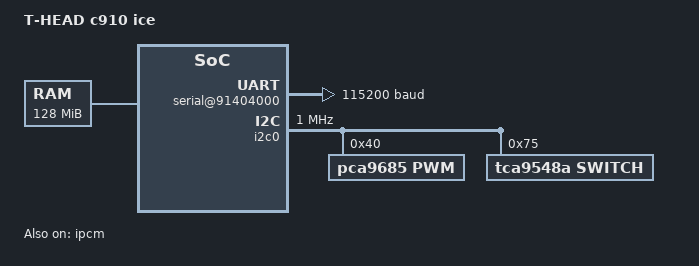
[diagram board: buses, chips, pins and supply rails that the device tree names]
/* Copyright (c) 2023, Canaan Bright Sight Co., Ltd
 *
 * This program is free software; you can redistribute it and/or modify
 * it under the terms of the GNU General Public License version 2 as
 * published by the Free Software Foundation.
*/
/dts-v1/;
/ {
	model = "T-HEAD c910 ice";
	compatible = "thead,c910_ice";
	#address-cells = <2>;
	#size-cells = <2>;

	memory@0 {
		device_type = "memory";
		reg = <0x0 0x08000000 0x0 0x07FFF000>;  /*linux memory config*/
	};

	cpus {
		#address-cells = <1>;
		#size-cells = <0>;
		timebase-frequency = <8000000>;
		cpu@0 {
			device_type = "cpu";
			reg = <0>;
			status = "okay";
			compatible = "riscv";
			riscv,isa = "rv64imafdcvxthead";
			mmu-type = "riscv,sv39";
			cpu0_intc: interrupt-controller {
				#interrupt-cells = <1>;
				compatible = "riscv,cpu-intc";
				interrupt-controller;
			};
		};
		
	};

	soc {
		#address-cells = <2>;
		#size-cells = <2>;
		compatible = "simple-bus";
		ranges;


		clint0: clint@f04000000 {
			compatible = "riscv,clint0";
			interrupts-extended = <
				&cpu0_intc  3 &cpu0_intc  7				
				>;
			reg = <0xf 0x04000000 0x0 0x04000000>;
			clint,has-no-64bit-mmio;
		};

		intc: interrupt-controller@f00000000 {
			#interrupt-cells = <1>;
			compatible = "riscv,plic0";
			interrupt-controller;
			interrupts-extended = <
				&cpu0_intc  0xffffffff &cpu0_intc  9				
				>;
			reg = <0xf 0x00000000 0x0 0x04000000>;
			reg-names = "control";
			riscv,max-priority = <7>;
			riscv,ndev = <200>;
		};

		dummy_apb: apb-clock {
			compatible = "fixed-clock";
			clock-frequency = <25000000>;
			clock-output-names = "dummy_apb";
			#clock-cells = <0>;
		};

		serial@91404000 {
			compatible = "snps,dw-apb-uart";
			reg = <0x0 0x91404000 0x0 0x1000>;
			interrupt-parent = <&intc>;
			interrupts = <20>;
			clock-frequency = <25000000>;
			clocks = <&dummy_apb>;
			clock-names = "baudclk";
			reg-shift = <2>;
			reg-io-width = <4>;
			current-speed = <115200>;
		};

		sdcard: sdhci1@91581000 {
			compatible = "snps,dwcmshc-sdhci";
			reg = <0x0 0x91581000 0x0 0x1000>;
			interrupt-parent = <&intc>;
			interrupts = <144>;
			interrupt-names = "sdhci1irq";
			clocks = <&dummy_apb>,<&dummy_apb>;
			clock-names = "core", "bus";
			max-frequency = <6250000>;
			bus-width = <4>;
			//cd-gpios = <>;
			no-1-8-v;
			//cap-mmc-highspeed;
			status = "disable";
		};

		ipcm: ipcm@91104000 {
			compatible = "canaan,ipcm-interrupt";
			reg = <0x0 0x91104000 0x0 0x1000>;
			interrupt-parent = <&intc>;
			interrupts = <109>,<110>,<111>,<112>;
			clocks = <&dummy_apb>;
			status = "okay";
		};

		pmu: pmu {
			interrupt-parent = <&cpu0_intc>;
			interrupts = <17>;
			compatible = "thead,c900_pmu";
		};

		gpu: gpu@90800000 {
			compatible = "verisilicon,gc8000ul";
			reg = <0x0 0x90800000 0x0 0x4000>;
			interrupt-parent = <&intc>;
			interrupts = <135>;
		};

		i2c0: i2c@91405000 {
			#address-cells = <1>;
			#size-cells = <0>;
			compatible = "snps,designware-i2c";
			reg = <0x0 0x91405000 0x0 0x1000>;
			interrupt-parent    = <&intc>;
			interrupts          = <21>;
			clocks = <&dummy_apb>;
			clock-frequency = <1000000>;

			status = "okay";
		};

		sysctl: sysctl {
			status					= "okay";	
			#address-cells 			= <2>;
			#size-cells 			= <2>;
			compatible 				= "simple-bus";
			ranges;

			sysctl_clock: sysctl_clock@91100000 {
				status              = "okay";
				compatible 			= "simple-bus";
				reg                 = <0x0 0x91100000 0x0 0x1000>;
			};
			sysctl_reset: sysctl_reset@91101000 {
				status              = "okay";
				compatible 			= "simple-bus";
				reg                 = <0x0 0x91101000 0x0 0x1000>;
			};
			sysctl_boot: sysctl_boot@91102000 {
				status              = "okay";
				compatible 			= "simple-bus";
				reg                 = <0x0 0x91102000 0x0 0x1000>;
			};
			sysctl_power: sysctl_power@91103000 {
				status              = "okay";
				compatible 			= "simple-bus";
				reg                 = <0x0 0x91103000 0x0 0x1000>;
			};
		};
	};

	chosen {
		bootargs = "console=ttyS0,115200  crashkernel=256M-:128M earlycon=sbi";
		stdout-path = "/soc/serial@91400000:115200";
	};
};

&i2c0 {
		pca9685: pca9685@40{
			compatible = "pca9685,pwm";
			reg = <0x40>;
		};

		tca9548a: tca9548a@75{
			compatible = "tca9548a,switch";
			reg = <0x75>;
		};
};
